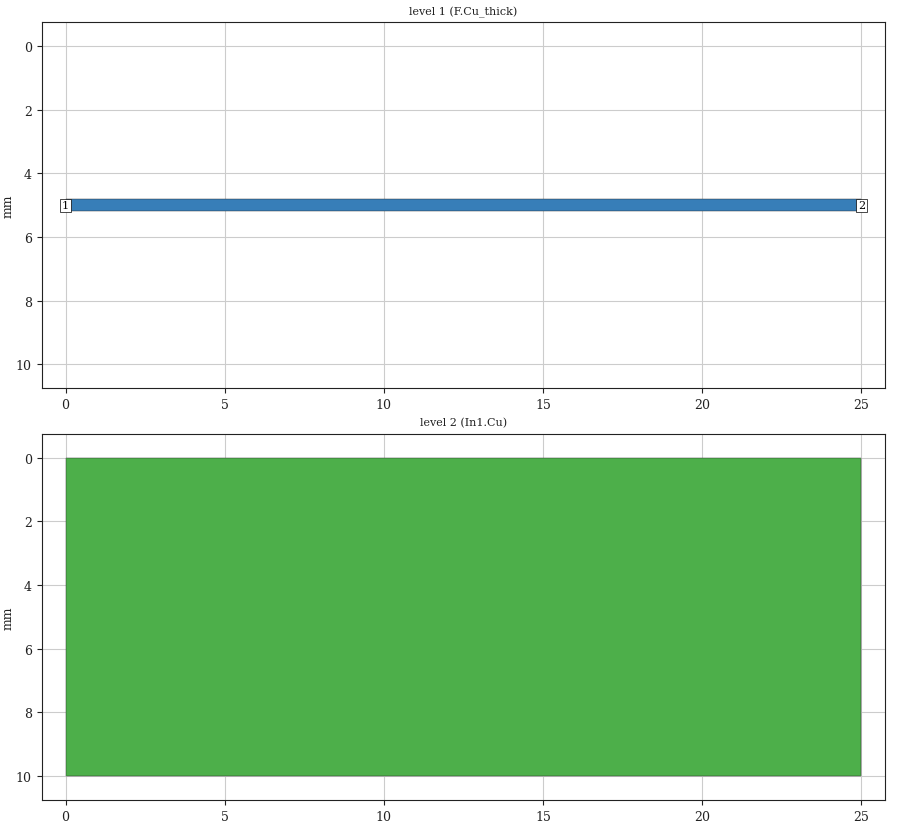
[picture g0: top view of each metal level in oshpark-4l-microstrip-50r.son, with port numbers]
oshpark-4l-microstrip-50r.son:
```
FTYP SONPROJ 19 ! Sonnet Project File
VER 18.56
HEADER
LIC antikernel2.1.52448
DAT 01/25/2024 07:45:20
BUILT_BY_CREATED xgeom 18.56 01/25/2024 07:41:08
BUILT_BY_SAVED sonnet 18.56
MDATE 01/25/2024 07:45:20
HDATE 01/25/2024 07:45:20
END HEADER
DIM
ANG DEG
CAP PF
CON /OH
FREQ GHZ
IND NH
LNG MM
RES OH
END DIM
CONTROL
VARSWP
OPTIONS  -d
SPEED 0
CACHE_ABS 2
Q_ACC N
END CONTROL
GEO
SYM
TMET "Free Space" 0 FREESPACE 376.7303136 0 0 0
BMET "Free Space" 0 FREESPACE 376.7303136 0 0 0
MET "Copper_1oz+plated_thick_up" 1 TMM 58000000 0.5 0.0432 2
MET "Copper_1oz+plated_thin" 4 NOR 58000000 0.5 0.0432 
MET "Copper_0.5oz_thin" 2 NOR 58000000 0.5 0.0175 
MET "Copper_1oz+plated_thick_down" 3 TMM 58000000 0.5 0.0432 2 CDVY TDWN
BOX 6 25 10 5000 2000 20 0
      10 1 1 0 0 0 0 "Air"
      0.05 3.5 1 0.02 0 0 0 "Soldermask"
      0.2021 3.61 1 0.0092 0 0 0 "Isola_FR408HR"
      1.1938 3.61 1 0.0092 0 0 0 "Isola_FR408HR"
      0.2021 3.61 1 0.0092 0 0 0 "Isola_FR408HR"
      0.05 3.5 1 0.02 0 0 0 "Soldermask"
      10 1 1 0 0 0 0 "Air"
TECHLAY METAL F.Cu_thick <UNSPECIFIED> -1 0 CAD F.Cu drawing 
1 0 0 N 25 1 1 100 100 0 0 0 Y
END
END
TECHLAY METAL F.Cu_thin <UNSPECIFIED> -2 0 CAD F.Cu_thin drawing 
1 0 1 N 27 1 1 100 100 0 0 0 Y
END
END
TECHLAY VIA Via1 <UNSPECIFIED> -7 0 CAD Via1 drawing 
VIA POLYGON
1 0 -1 N 64 1 1 100 100 0 0 0 Y
TOLEVEL 4 RING NOCOVERS
END
END
TECHLAY METAL In1.Cu <UNSPECIFIED> -3 0 CAD In1.Cu drawing 
2 0 2 N 31 1 1 100 100 0 0 0 Y
END
END
TECHLAY METAL In2.Cu <UNSPECIFIED> -4 0 CAD In2.Cu drawing 
3 0 2 N 33 1 1 100 100 0 0 0 Y
END
END
TECHLAY METAL B.Cu_thick <UNSPECIFIED> -5 0 CAD B.Cu drawing 
4 0 3 N 35 1 1 100 100 0 0 0 Y
END
END
TECHLAY METAL B.Cu_thin <UNSPECIFIED> -6 0 CAD B.Cu_thin drawing 
4 0 1 N 37 1 1 100 100 0 0 0 Y
END
END
LORGN 0 10 U 
POR1 BOX
POLY 58 1
3
1 50 0 0 0 0 5 
POR1 BOX
POLY 58 1
1
2 50 0 0 0 25 5 
NUM 2
1 5 0 N 58 1 1 100 100 0 0 0 Y
TLAYNAM F.Cu_thick INH
0 4.81
25 4.81
25 5.19
0 5.19
0 4.81
END
2 5 2 N 73 1 1 100 100 0 0 0 Y
TLAYNAM In1.Cu INH
0 0
25 0
25 10
0 10
0 0
END
END GEO
OPT
MAX 100
END OPT
VARSWP
ENABLED Y
FREQ Y AY ABS_ENTRY 0.01 16.0 -1 300 
END
END VARSWP
```
